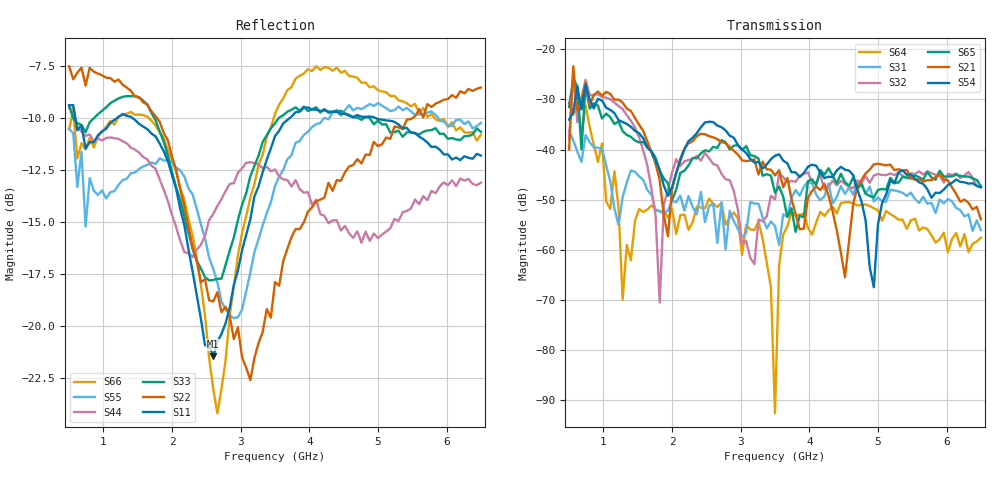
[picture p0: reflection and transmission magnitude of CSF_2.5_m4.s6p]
!Keysight Technologies,M9804A,MY58100912,A.14.10.03
!Date: Thursday, April 27, 2023 10:28:33
!Correction: S11(C  6-Port  )
!S12(C  6-Port  )
!S13(C  6-Port  )
!S14(C  6-Port  )
!S15(C  6-Port  )
!S16(C  6-Port  )
!S21(C  6-Port  )
!S22(C  6-Port  )
!S23(C  6-Port  )
!S24(C  6-Port  )
!S25(C  6-Port  )
!S26(C  6-Port  )
!S31(C  6-Port  )
!S32(C  6-Port  )
!S33(C  6-Port  )
!S34(C  6-Port  )
!S35(C  6-Port  )
!S36(C  6-Port  )
!S41(C  6-Port  )
!S42(C  6-Port  )
!S43(C  6-Port  )
!S44(C  6-Port  )
!S45(C  6-Port  )
!S46(C  6-Port  )
!S51(C  6-Port  )
!S52(C  6-Port  )
!S53(C  6-Port  )
!S54(C  6-Port  )
!S55(C  6-Port  )
!S56(C  6-Port  )
!S61(C  6-Port  )
!S62(C  6-Port  )
!S63(C  6-Port  )
!S64(C  6-Port  )
!S65(C  6-Port  )
!S66(C  6-Port  )
!S6P File: Measurement: :
# Hz S  RI  R 50
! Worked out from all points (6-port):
!   101 points, 500 MHz to 6.5 GHz, reference 50 ohm
!   strongest paths, dB at 500 MHz, 2 GHz, 3.5 GHz, 5 GHz, 6.5 GHz:
!     S54: -34.0, -47.5, -41.2, -55.0, -47.6
!     S21: -40.0, -47.9, -45.2, -42.8, -53.9
!     S65: -31.5, -50.1, -48.6, -48.1, -47.4
!     S32: -37.8, -44.6, -50.0, -44.9, -47.4
!     S31: -36.3, -50.2, -55.3, -49.6, -56.1
!     S64: -30.5, -51.9, -92.7, -52.1, -57.6
!   lowest |S11| = -21.5 dB at 2.6 GHz (marker M1), VSWR 1.18, Z = 42.5 + j2.16 ohm
!   |S11| at or under -10 dB: 591.3 MHz to 1.192 GHz (600.4 MHz wide, 67.3 % of centre); 1.428 GHz to 3.711 GHz (2.283 GHz wide, 88.8 % of centre); 4.974 GHz to end of sweep
